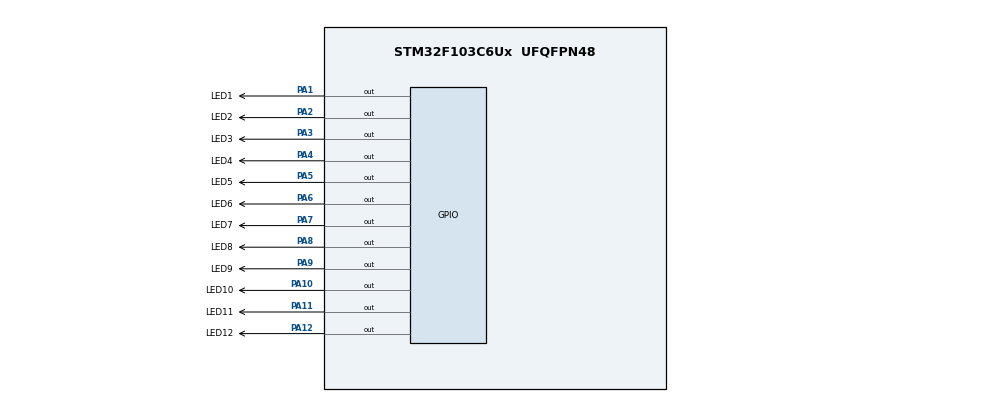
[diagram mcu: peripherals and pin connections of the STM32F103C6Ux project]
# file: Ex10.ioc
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Mcu.Family=STM32F1
Mcu.Name=STM32F103C6Ux
Mcu.Package=UFQFPN48
NVIC.PriorityGroup=NVIC_PRIORITYGROUP_4
PA1.GPIO_Label=LED1
PA1.Signal=GPIO_Output
PA10.GPIO_Label=LED10
PA10.Signal=GPIO_Output
PA11.GPIO_Label=LED11
PA11.Signal=GPIO_Output
PA12.GPIO_Label=LED12
PA12.Signal=GPIO_Output
PA2.GPIO_Label=LED2
PA2.Signal=GPIO_Output
PA3.GPIO_Label=LED3
PA3.Signal=GPIO_Output
PA4.GPIO_Label=LED4
PA4.Signal=GPIO_Output
PA5.GPIO_Label=LED5
PA5.Signal=GPIO_Output
PA6.GPIO_Label=LED6
PA6.Signal=GPIO_Output
PA7.GPIO_Label=LED7
PA7.Signal=GPIO_Output
PA8.GPIO_Label=LED8
PA8.Signal=GPIO_Output
PA9.GPIO_Label=LED9
PA9.Signal=GPIO_Output
ProjectManager.HeapSize=0x200
ProjectManager.StackSize=0x400
ProjectManager.TargetToolchain=STM32CubeIDE
RCC.APB1Freq_Value=8000000
RCC.APB2Freq_Value=8000000
VP_SYS_VS_ND.Mode=No_Debug
board=custom

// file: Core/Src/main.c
/* USER CODE BEGIN Header */
/**
  ******************************************************************************
  * @file           : main.c
  * @brief          : Main program body
  ******************************************************************************
  * @attention
  *
  * <h2><center>&copy; Copyright (c) 2023 STMicroelectronics.
  * All rights reserved.</center></h2>
  *
  * This software component is licensed by ST under BSD 3-Clause license,
  * the "License"; You may not use this file except in compliance with the
  * License. You may obtain a copy of the License at:
  *                        opensource.org/licenses/BSD-3-Clause
  *
  ******************************************************************************
  */
/* USER CODE END Header */
#include "main.h"

/* USER CODE BEGIN PV */
  int counter0 = 0;
  int counter1 = 0;
  int counter2 = 0;
/* USER CODE END PV */

void SystemClock_Config(void);
static void MX_GPIO_Init(void);

/* USER CODE BEGIN 0 */
void setNumberOnClock(int num){
	switch(num){
	case 1:
		HAL_GPIO_WritePin(LED1_GPIO_Port, LED1_Pin, 1);
		break;
	case 2:
		HAL_GPIO_WritePin(LED2_GPIO_Port, LED2_Pin, 1);
		break;
	case 3:
		HAL_GPIO_WritePin(LED3_GPIO_Port, LED3_Pin, 1);
		break;
	case 4:
		HAL_GPIO_WritePin(LED4_GPIO_Port, LED4_Pin, 1);
		break;
	case 5:
		HAL_GPIO_WritePin(LED5_GPIO_Port, LED5_Pin, 1);
		break;
	case 6:
		HAL_GPIO_WritePin(LED6_GPIO_Port, LED6_Pin, 1);
		break;
	case 7:
		HAL_GPIO_WritePin(LED7_GPIO_Port, LED7_Pin, 1);
		break;
	case 8:
		HAL_GPIO_WritePin(LED8_GPIO_Port, LED8_Pin, 1);
		break;
	case 9:
		HAL_GPIO_WritePin(LED9_GPIO_Port, LED9_Pin, 1);
		break;
	case 10:
		HAL_GPIO_WritePin(LED10_GPIO_Port, LED10_Pin, 1);
		break;
	case 11:
		HAL_GPIO_WritePin(LED11_GPIO_Port, LED11_Pin, 1);
		break;
	case 0:
		HAL_GPIO_WritePin(LED12_GPIO_Port, LED12_Pin, 1);
		break;
	}
}
void sigleLed_on(int numLed){
	int a=0, b=0, c=0, d=0, e=0, f=0, g=0, i=0, k=0, l=0, m=0, n=0;
	switch(numLed){
	case 1:
		a=1; b=0; c=0; d=0; e=0; f=0; g=0; i=0; k=0; l=0; m=0; n=0;
		break;
	case 2:
		a=0; b=1; c=0; d=0; e=0; f=0; g=0; i=0; k=0; l=0; m=0; n=0;
		break;
	case 3:
		a=0; b=0; c=1; d=0; e=0; f=0; g=0; i=0; k=0; l=0; m=0; n=0;
		break;
	case 4:
		a=0; b=0; c=0; d=1; e=0; f=0; g=0; i=0; k=0; l=0; m=0; n=0;
		break;
	case 5:
		a=0; b=0; c=0; d=0; e=1; f=0; g=0; i=0; k=0; l=0; m=0; n=0;
		break;
	case 6:
		a=0; b=0; c=0; d=0; e=0; f=1; g=0; i=0; k=0; l=0; m=0; n=0;
		break;
	case 7:
		a=0; b=0; c=0; d=0; e=0; f=0; g=1; i=0; k=0; l=0; m=0; n=0;
		break;
	case 8:
		a=0; b=0; c=0; d=0; e=0; f=0; g=0; i=1; k=0; l=0; m=0; n=0;
		break;
	case 9:
		a=0; b=0; c=0; d=0; e=0; f=0; g=0; i=0; k=1; l=0; m=0; n=0;
		break;
	case 10:
		a=0; b=0; c=0; d=0; e=0; f=0; g=0; i=0; k=0; l=1; m=0; n=0;
		break;
	case 11:
		a=0; b=0; c=0; d=0; e=0; f=0; g=0; i=0; k=0; l=0; m=1; n=0;
		break;
	case 12:
		a=0; b=0; c=0; d=0; e=0; f=0; g=0; i=0; k=0; l=0; m=0; n=1;
		break;
	}
	HAL_GPIO_WritePin(LED1_GPIO_Port, LED1_Pin, a);
	HAL_GPIO_WritePin(LED2_GPIO_Port, LED2_Pin, b);
	HAL_GPIO_WritePin(LED3_GPIO_Port, LED3_Pin, c);
	HAL_GPIO_WritePin(LED4_GPIO_Port, LED4_Pin, d);
	HAL_GPIO_WritePin(LED5_GPIO_Port, LED5_Pin, e);
	HAL_GPIO_WritePin(LED6_GPIO_Port, LED6_Pin, f);
	HAL_GPIO_WritePin(LED7_GPIO_Port, LED7_Pin, g);
	HAL_GPIO_WritePin(LED8_GPIO_Port, LED8_Pin, i);
	HAL_GPIO_WritePin(LED9_GPIO_Port, LED9_Pin, k);
	HAL_GPIO_WritePin(LED10_GPIO_Port, LED10_Pin, l);
	HAL_GPIO_WritePin(LED11_GPIO_Port, LED11_Pin, m);
	HAL_GPIO_WritePin(LED12_GPIO_Port, LED12_Pin, n);
}
void tsecond(int counter){
	if(counter<1){
		sigleLed_on(12);
	}
	else if(counter<2){
		sigleLed_on(1);
	}
	else if(counter<3){
		sigleLed_on(2);
	}
	else if(counter<4){
		sigleLed_on(3);
	}
	else if(counter<5){
		sigleLed_on(4);
	}
	else if(counter<6){
		sigleLed_on(5);
	}
	else if(counter<7){
		sigleLed_on(6);
	}
	else if(counter<8){
		sigleLed_on(7);
	}
	else if(counter<9){
		sigleLed_on(8);
	}
	else if(counter<10){
		sigleLed_on(9);
	}
	else if(counter<11){
		sigleLed_on(10);
	}
	else if(counter<12){
		sigleLed_on(11);
	}
}
void thour(int counter){
	if(counter<1 ){
		setNumberOnClock(0);
	  }
	else if(counter<2){
		setNumberOnClock(1);
	  }
	else if(counter<3){
		setNumberOnClock(2);
	  }
	else if(counter<4){
		setNumberOnClock(3);
	  }
	else if(counter<5){
		setNumberOnClock(4);
	  }
	else if(counter<6){
		setNumberOnClock(5);
	  }
	else if(counter<7){
		setNumberOnClock(6);
	  }
	else if(counter<8){
		setNumberOnClock(7);
	  }
	else if(counter<9){
		setNumberOnClock(8);
	  }
	else if(counter<10){
		setNumberOnClock(9);
	  }
	else if(counter<11){
		setNumberOnClock(10);
	  }
	else if(counter<12){
		setNumberOnClock(11);
	  }
}
void tmin(int counter){
	if(counter<5 ){
		setNumberOnClock(0);
	  }
	else if(counter<10){
		setNumberOnClock(1);
	  }
	else if(counter<15){
		setNumberOnClock(2);
	  }
	else if(counter<20){
		setNumberOnClock(3);
	  }
	else if(counter<25){
		setNumberOnClock(4);
	  }
	else if(counter<30){
		setNumberOnClock(5);
	  }
	else if(counter<35){
		setNumberOnClock(6);
	  }
	else if(counter<40){
		setNumberOnClock(7);
	  }
	else if(counter<45){
		setNumberOnClock(8);
	  }
	else if(counter<50){
		setNumberOnClock(9);
	  }
	else if(counter<55){
		setNumberOnClock(10);
	  }
	else if(counter<60){
		setNumberOnClock(11);
	  }
}
/* USER CODE END 0 */

int main(void)
{

  /* MCU Configuration--------------------------------------------------------*/

  /* Reset of all peripherals, Initializes the Flash interface and the Systick. */
  HAL_Init();

  /* Configure the system clock */
  SystemClock_Config();

  /* Initialize all configured peripherals */
  MX_GPIO_Init();

  /* Infinite loop */
  /* USER CODE BEGIN WHILE */
  while (1)
  {
	  tsecond(counter0++);
      tmin(counter1);
      thour(counter2);
	  if(counter0>=12){counter0=0; counter1++;}
	  if(counter1>=60){counter1=0; counter2++;}
	  if(counter2>=12){counter2=0;}
	  HAL_Delay(50);
    /* USER CODE END WHILE */

  }
}

void SystemClock_Config(void)
{
  RCC_OscInitTypeDef RCC_OscInitStruct = {0};
  RCC_ClkInitTypeDef RCC_ClkInitStruct = {0};

  /** Initializes the RCC Oscillators according to the specified parameters
  * in the RCC_OscInitTypeDef structure.
  */
  RCC_OscInitStruct.OscillatorType = RCC_OSCILLATORTYPE_HSI;
  RCC_OscInitStruct.HSIState = RCC_HSI_ON;
  RCC_OscInitStruct.HSICalibrationValue = RCC_HSICALIBRATION_DEFAULT;
  RCC_OscInitStruct.PLL.PLLState = RCC_PLL_NONE;
  if (HAL_RCC_OscConfig(&RCC_OscInitStruct) != HAL_OK)
  {
    Error_Handler();
  }
  /** Initializes the CPU, AHB and APB buses clocks
  */
  RCC_ClkInitStruct.ClockType = RCC_CLOCKTYPE_HCLK|RCC_CLOCKTYPE_SYSCLK
                              |RCC_CLOCKTYPE_PCLK1|RCC_CLOCKTYPE_PCLK2;
  RCC_ClkInitStruct.SYSCLKSource = RCC_SYSCLKSOURCE_HSI;
  RCC_ClkInitStruct.AHBCLKDivider = RCC_SYSCLK_DIV1;
  RCC_ClkInitStruct.APB1CLKDivider = RCC_HCLK_DIV1;
  RCC_ClkInitStruct.APB2CLKDivider = RCC_HCLK_DIV1;

  if (HAL_RCC_ClockConfig(&RCC_ClkInitStruct, FLASH_LATENCY_0) != HAL_OK)
  {
    Error_Handler();
  }
}

static void MX_GPIO_Init(void)
{
  GPIO_InitTypeDef GPIO_InitStruct = {0};

  /* GPIO Ports Clock Enable */
  __HAL_RCC_GPIOA_CLK_ENABLE();

  /*Configure GPIO pin Output Level */
  HAL_GPIO_WritePin(GPIOA, LED1_Pin|LED2_Pin|LED3_Pin|LED4_Pin
                          |LED5_Pin|LED6_Pin|LED7_Pin|LED8_Pin
                          |LED9_Pin|LED10_Pin|LED11_Pin|LED12_Pin, GPIO_PIN_RESET);

  /*Configure GPIO pins : LED1_Pin LED2_Pin LED3_Pin LED4_Pin
                           LED5_Pin LED6_Pin LED7_Pin LED8_Pin
                           LED9_Pin LED10_Pin LED11_Pin LED12_Pin */
  GPIO_InitStruct.Pin = LED1_Pin|LED2_Pin|LED3_Pin|LED4_Pin
                          |LED5_Pin|LED6_Pin|LED7_Pin|LED8_Pin
                          |LED9_Pin|LED10_Pin|LED11_Pin|LED12_Pin;
  GPIO_InitStruct.Mode = GPIO_MODE_OUTPUT_PP;
  GPIO_InitStruct.Pull = GPIO_NOPULL;
  GPIO_InitStruct.Speed = GPIO_SPEED_FREQ_LOW;
  HAL_GPIO_Init(GPIOA, &GPIO_InitStruct);

}

void Error_Handler(void)
{
  __disable_irq();
  while (1)
  {
  }
}

/************************ (C) COPYRIGHT STMicroelectronics *****END OF FILE****/
